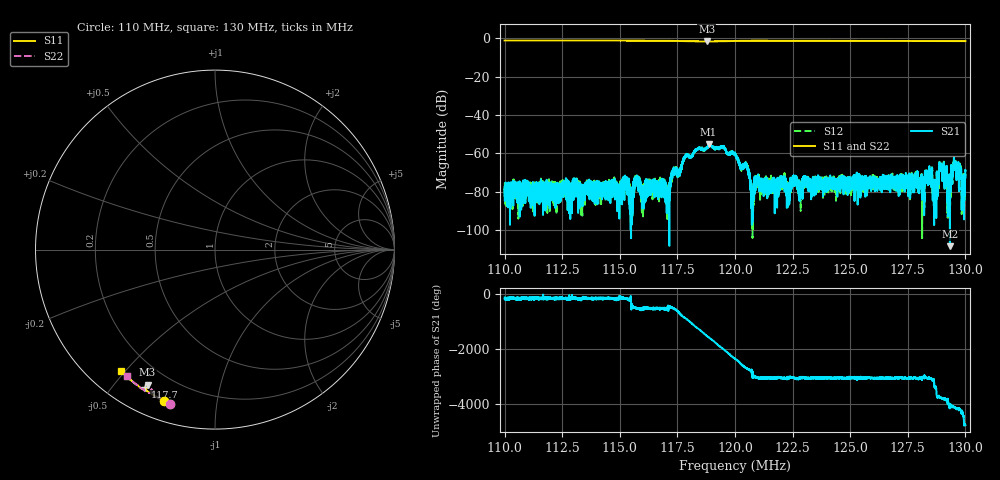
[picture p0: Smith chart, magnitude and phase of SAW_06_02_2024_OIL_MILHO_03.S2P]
!Agilent Technologies,E5071C,MY46520923,B.12.03
!Date: Tue Feb 06 10:50:02 2024
!Data & Calibration Information:
!Freq	S11:SOLT2(ON)	S21:SOLT2(ON)	S12:SOLT2(ON)	S22:SOLT2(ON)
!PortZ  Port1:50+j0  Port2:50+j0
!Above PortZ is port z conversion or system Z0 setting when saving the data.
!When reading, reference impedance value at option line is always used.
# Hz S dB R 50
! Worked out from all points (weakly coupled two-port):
!   10000 points, 110 MHz to 130 MHz, reference 50 ohm
!   highest |S21| = -55.21 dB at 118.9 MHz (marker M1); lowest = -108.4 dB at 129.3 MHz (marker M2)
!   lowest |S11| = -1.5 dB at 118.8 MHz (marker M3), VSWR 11.63, Z = 5.93 - j30.6 ohm
!   |S11| at or under -10 dB: nowhere
!   |S22| runs from -1.4 to -1.0 dB; largest |S21 - S12| = 0.00024
!   S11 on the Smith chart (normalised r, x): 110 MHz: 0.09, -0.72; 117.7 MHz: 0.10, -0.61; 130 MHz: 0.10, -0.49
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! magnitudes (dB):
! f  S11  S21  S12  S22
! 110 MHz  -1.0  -79.4  -80.9  -1.0
! 113.3 MHz  -1.1  -83.9  -81.9  -1.0
! 116.7 MHz  -1.2  -76.8  -76.6  -1.1
! 117.1 MHz  -1.2  -88.7  -87.9  -1.2
! 117.3 MHz  -1.3  -68.3  -68.5  -1.2
! 117.7 MHz  -1.3  -67.8  -66.2  -1.3
! 118.8 MHz  -1.5  -56.9  -57.2  -1.4
! 118.9 MHz  -1.5  -55.2  -55.6  -1.4
! 120 MHz  -1.3  -60.2  -60.4  -1.2
! 120.5 MHz  -1.2  -65.4  -66.3  -1.1
! 120.8 MHz  -1.2  -92.9  -96.9  -1.1
! 121 MHz  -1.2  -72.6  -74.1  -1.1
! 123.3 MHz  -1.2  -82.6  -77.5  -1.2
! 126.7 MHz  -1.3  -73.1  -71.5  -1.2
! 128.1 MHz  -1.3  -77.8  -84.5  -1.3
! 128.5 MHz  -1.3  -73.0  -72.5  -1.3
! 128.7 MHz  -1.3  -81.3  -75.6  -1.3
! 129 MHz  -1.3  -67.8  -67.9  -1.3
! 129.3 MHz  -1.3  -108.4  -80.5  -1.3
! 129.6 MHz  -1.3  -64.4  -65.1  -1.3
! 129.9 MHz  -1.4  -72.9  -74.9  -1.3
! 130 MHz  -1.4  -68.8  -69.2  -1.3
